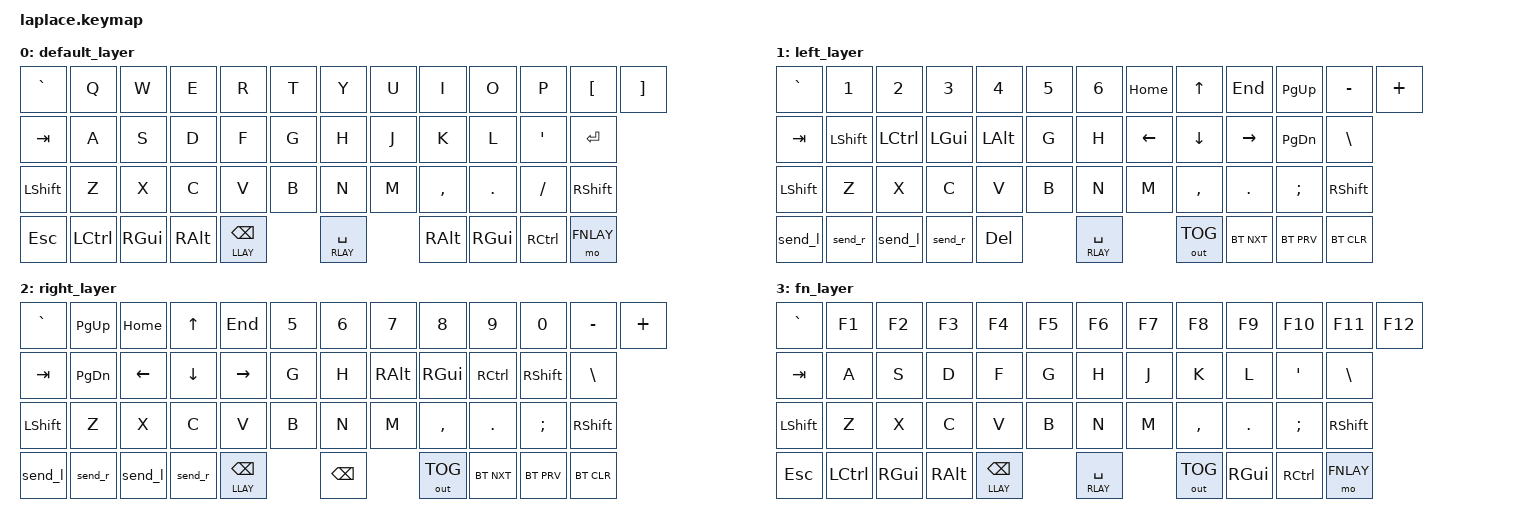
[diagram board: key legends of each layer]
#include <behaviors.dtsi>
#include <dt-bindings/zmk/keys.h>
#include <dt-bindings/zmk/bt.h>
#include <dt-bindings/zmk/rgb.h>
#include <dt-bindings/zmk/outputs.h>

#define DEFAULT 0
#define LLAY 1
#define RLAY 2
#define FNLAY 3

/ {

    macros {
      ZMK_MACRO(send_l,
        wait-ms = <50>;
        tap-ms = <50>;
        bindings 
          = <&macro_press &kp LGUI>
          , <&macro_press &kp LSHFT>
          , <&macro_tap &kp LEFT>
          , <&macro_release &kp LSHFT>
          , <&macro_release &kp LGUI>
          ;    
      )

      ZMK_MACRO(send_r,
        wait-ms = <50>;
        tap-ms = <50>;
        bindings 
          = <&macro_press &kp LGUI>
          , <&macro_press &kp LSHFT>
          , <&macro_tap &kp RIGHT>
          , <&macro_release &kp LSHFT>
          , <&macro_release &kp LGUI>
          ;    
      )
    };

    keymap {
      compatible = "zmk,keymap";

// --------------------------------------------------------------------------------
// | ESC |  Q  |  W  |  E  |  R  |  T  |  Y  |  U  |  I  |  O  |  P  |  [  |  ]   |
// --------------------------------------------------------------------------------
// |  TAB  |  A  |  S  |  D  |  F  |  G  |  H  |  J  |  K  |  L  |  "  |    \     |
// --------------------------------------------------------------------------------
// | SHIFT  |  Z  |  X  |  C  |  V  |  B  |  N  |  M  |  ,  |  .  |  /  |  SHIFT  |
// --------------------------------------------------------------------------------
// |  1  |  2  |  3  |  4  |    BKSP   |    SPACE   |   5   |  6  |   7   |   8   |
// --------------------------------------------------------------------------------
        default_layer {
          bindings = <
  &kp GRAVE &kp  Q    &kp  W   &kp  E   &kp  R  &kp  T  &kp  Y  &kp  U  &kp  I    &kp  O   &kp  P    &kp LBKT  &kp RBKT
  &kp TAB   &kp  A    &kp  S   &kp  D   &kp  F  &kp  G  &kp  H  &kp  J  &kp  K    &kp  L   &kp SQT   &kp ENTER
  &kp LSHFT &kp  Z    &kp  X   &kp  C   &kp  V  &kp  B  &kp  N  &kp  M  &kp COMMA &kp DOT  &kp FSLH  &kp RSHFT
  &kp ESC   &kp LCTRL &kp RGUI &kp RALT &lt LLAY BSPC   &lt RLAY SPACE  &kp RALT  &kp RGUI &kp RCTRL &mo FNLAY
          >;
        };

        left_layer {
          bindings = <
  &kp GRAVE &kp N1    &kp N2    &kp N3   &kp N4   &kp N5  &kp N6  &kp HOME &kp  UP      &kp END    &kp PG_UP  &kp MINUS &kp PLUS
  &kp TAB   &kp LSHFT &kp LCTRL &kp LGUI &kp LALT &kp  G  &kp  H  &kp LEFT &kp  DOWN    &kp RIGHT  &kp PG_DN  &kp BSLH  
  &kp LSHFT &kp  Z    &kp  X    &kp  C   &kp V    &kp  B  &kp  N  &kp  M   &kp  COMMA   &kp DOT    &kp SEMI   &kp RSHFT 
  &send_l   &send_r   &send_l   &send_r  &kp DEL          &lt RLAY SPACE   &out OUT_TOG &bt BT_NXT &bt BT_PRV &bt BT_CLR
          >;
        };

        right_layer {
          bindings = <
  &kp GRAVE &kp PG_UP &kp HOME &kp  UP  &kp END   &kp N5  &kp N6  &kp N7   &kp N8       &kp N9     &kp N0     &kp MINUS &kp PLUS
  &kp TAB   &kp PG_DN &kp LEFT &kp DOWN &kp RIGHT &kp  G  &kp  H  &kp RALT &kp RGUI     &kp RCTRL  &kp RSHFT  &kp BSLH  
  &kp LSHFT &kp  Z    &kp  X   &kp  C   &kp  V    &kp  B  &kp  N  &kp  M   &kp COMMA    &kp DOT    &kp SEMI   &kp RSHFT 
  &send_l   &send_r   &send_l  &send_r  &lt LLAY BSPC     &kp   BSPC       &out OUT_TOG &bt BT_NXT &bt BT_PRV &bt BT_CLR
          >;
        };

        fn_layer {
          bindings = <
  &kp GRAVE &kp F1    &kp F2   &kp F3   &kp F4  &kp F5  &kp F6  &kp F7  &kp F8       &kp F9   &kp F10   &kp F11   &kp F12
  &kp TAB   &kp  A    &kp  S   &kp  D   &kp  F  &kp  G  &kp  H  &kp  J  &kp  K       &kp  L   &kp SQT   &kp BSLH 
  &kp LSHFT &kp  Z    &kp  X   &kp  C   &kp  V  &kp  B  &kp  N  &kp  M  &kp COMMA    &kp  DOT &kp SEMI  &kp RSHFT
  &kp ESC   &kp LCTRL &kp RGUI &kp RALT &lt LLAY BSPC   &lt RLAY SPACE  &out OUT_TOG &kp RGUI &kp RCTRL &mo FNLAY
          >;
        };
    };
};
